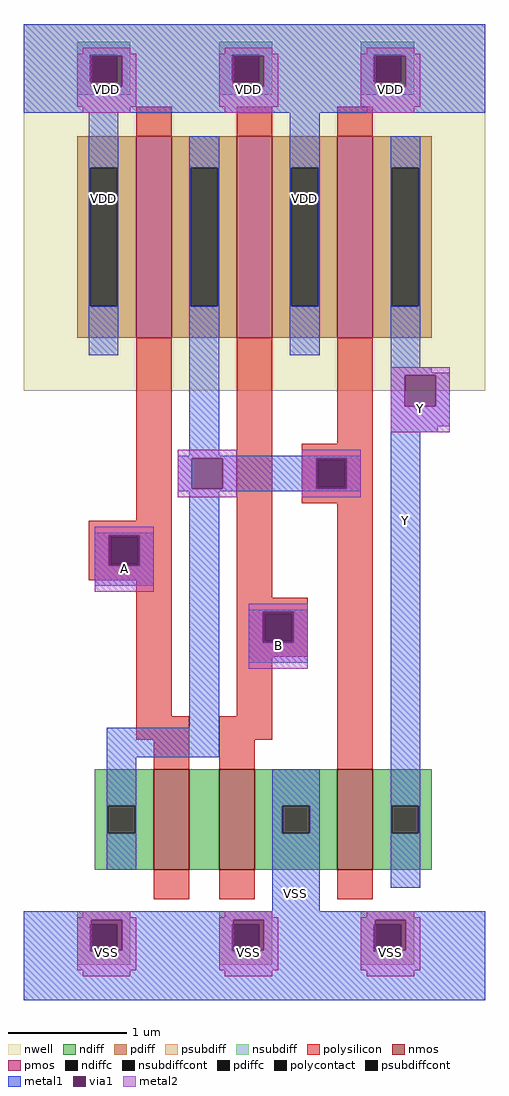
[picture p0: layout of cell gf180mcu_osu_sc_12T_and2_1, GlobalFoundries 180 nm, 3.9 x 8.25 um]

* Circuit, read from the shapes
.subckt gf180mcu_osu_sc_12T_and2_1 A B Y VDD VSS
XM1 n1 A n2 VSS nfet_03v3 w=0.85u l=0.3u
XM2 VSS B n1 VSS nfet_03v3 w=0.85u l=0.3u
XM3 Y n2 VSS VSS nfet_03v3 w=0.85u l=0.3u
XM4 n2 A VDD VDD pfet_03v3 w=1.7u l=0.3u
XM5 VDD B n2 VDD pfet_03v3 w=1.7u l=0.3u
XM6 Y n2 VDD VDD pfet_03v3 w=1.7u l=0.3u
.ends

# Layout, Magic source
magic
tech gf180mcuA
magscale 1 10
<< nwell >>
rect 0 1000 780 1620
<< nmos >>
rect 220 190 280 360
rect 330 190 390 360
rect 530 190 590 360
<< pmos >>
rect 190 1090 250 1430
rect 360 1090 420 1430
rect 530 1090 590 1430
<< ndiff >>
rect 120 298 220 360
rect 120 252 142 298
rect 188 252 220 298
rect 120 190 220 252
rect 280 190 330 360
rect 390 298 530 360
rect 390 252 437 298
rect 483 252 530 298
rect 390 190 530 252
rect 590 298 690 360
rect 590 252 622 298
rect 668 252 690 298
rect 590 190 690 252
<< pdiff >>
rect 90 1377 190 1430
rect 90 1143 112 1377
rect 158 1143 190 1377
rect 90 1090 190 1143
rect 250 1377 360 1430
rect 250 1143 282 1377
rect 328 1143 360 1377
rect 250 1090 360 1143
rect 420 1377 530 1430
rect 420 1143 452 1377
rect 498 1143 530 1377
rect 420 1090 530 1143
rect 590 1377 690 1430
rect 590 1143 622 1377
rect 668 1143 690 1377
rect 590 1090 690 1143
<< ndiffc >>
rect 142 252 188 298
rect 437 252 483 298
rect 622 252 668 298
<< pdiffc >>
rect 112 1143 158 1377
rect 282 1143 328 1377
rect 452 1143 498 1377
rect 622 1143 668 1377
<< psubdiff >>
rect 90 98 180 120
rect 90 52 112 98
rect 158 52 180 98
rect 90 30 180 52
rect 330 98 420 120
rect 330 52 352 98
rect 398 52 420 98
rect 330 30 420 52
rect 570 98 660 120
rect 570 52 592 98
rect 638 52 660 98
rect 570 30 660 52
<< nsubdiff >>
rect 90 1568 180 1590
rect 90 1522 112 1568
rect 158 1522 180 1568
rect 90 1500 180 1522
rect 330 1568 420 1590
rect 330 1522 352 1568
rect 398 1522 420 1568
rect 330 1500 420 1522
rect 570 1568 660 1590
rect 570 1522 592 1568
rect 638 1522 660 1568
rect 570 1500 660 1522
<< psubdiffcont >>
rect 112 52 158 98
rect 352 52 398 98
rect 592 52 638 98
<< nsubdiffcont >>
rect 112 1522 158 1568
rect 352 1522 398 1568
rect 592 1522 638 1568
<< polysilicon >>
rect 190 1430 250 1480
rect 360 1430 420 1480
rect 530 1430 590 1480
rect 190 780 250 1090
rect 110 753 250 780
rect 110 707 147 753
rect 193 707 250 753
rect 110 680 250 707
rect 190 450 250 680
rect 360 650 420 1090
rect 530 910 590 1090
rect 470 883 590 910
rect 470 837 497 883
rect 543 837 590 883
rect 470 810 590 837
rect 360 623 480 650
rect 360 577 407 623
rect 453 577 480 623
rect 360 550 480 577
rect 360 450 420 550
rect 190 410 280 450
rect 220 360 280 410
rect 330 410 420 450
rect 330 360 390 410
rect 530 360 590 810
rect 220 140 280 190
rect 330 140 390 190
rect 530 140 590 190
<< polycontact >>
rect 147 707 193 753
rect 497 837 543 883
rect 407 577 453 623
<< metal1 >>
rect 0 1568 780 1620
rect 0 1522 112 1568
rect 158 1566 352 1568
rect 398 1566 592 1568
rect 638 1566 780 1568
rect 166 1522 352 1566
rect 406 1522 592 1566
rect 0 1514 114 1522
rect 166 1514 354 1522
rect 406 1514 594 1522
rect 646 1514 780 1566
rect 0 1470 780 1514
rect 110 1377 160 1470
rect 110 1143 112 1377
rect 158 1143 160 1377
rect 110 1060 160 1143
rect 280 1377 330 1430
rect 280 1143 282 1377
rect 328 1143 330 1377
rect 280 890 330 1143
rect 450 1377 500 1470
rect 450 1143 452 1377
rect 498 1143 500 1377
rect 450 1060 500 1143
rect 620 1377 670 1430
rect 620 1143 622 1377
rect 668 1143 670 1377
rect 620 1040 670 1143
rect 620 1030 690 1040
rect 620 1026 720 1030
rect 620 974 644 1026
rect 696 974 720 1026
rect 620 940 720 974
rect 620 930 700 940
rect 260 886 570 890
rect 260 834 284 886
rect 336 834 494 886
rect 546 834 570 886
rect 260 830 570 834
rect 120 756 220 760
rect 120 704 144 756
rect 196 704 220 756
rect 120 670 220 704
rect 280 430 330 830
rect 380 626 480 630
rect 380 574 404 626
rect 456 574 480 626
rect 380 540 480 574
rect 140 380 330 430
rect 140 298 190 380
rect 140 252 142 298
rect 188 252 190 298
rect 140 190 190 252
rect 420 298 500 360
rect 420 252 437 298
rect 483 252 500 298
rect 420 120 500 252
rect 620 298 670 930
rect 620 252 622 298
rect 668 252 670 298
rect 620 160 670 252
rect 0 106 780 120
rect 0 98 114 106
rect 166 98 354 106
rect 406 98 594 106
rect 0 52 112 98
rect 166 54 352 98
rect 406 54 592 98
rect 646 54 780 106
rect 158 52 352 54
rect 398 52 592 54
rect 638 52 780 54
rect 0 -30 780 52
<< via1 >>
rect 114 1522 158 1566
rect 158 1522 166 1566
rect 354 1522 398 1566
rect 398 1522 406 1566
rect 594 1522 638 1566
rect 638 1522 646 1566
rect 114 1514 166 1522
rect 354 1514 406 1522
rect 594 1514 646 1522
rect 644 974 696 1026
rect 284 834 336 886
rect 494 883 546 886
rect 494 837 497 883
rect 497 837 543 883
rect 543 837 546 883
rect 494 834 546 837
rect 144 753 196 756
rect 144 707 147 753
rect 147 707 193 753
rect 193 707 196 753
rect 144 704 196 707
rect 404 623 456 626
rect 404 577 407 623
rect 407 577 453 623
rect 453 577 456 623
rect 404 574 456 577
rect 114 98 166 106
rect 354 98 406 106
rect 594 98 646 106
rect 114 54 158 98
rect 158 54 166 98
rect 354 54 398 98
rect 398 54 406 98
rect 594 54 638 98
rect 638 54 646 98
<< metal2 >>
rect 100 1570 180 1580
rect 340 1570 420 1580
rect 580 1570 660 1580
rect 90 1566 190 1570
rect 90 1514 114 1566
rect 166 1514 190 1566
rect 90 1480 190 1514
rect 330 1566 430 1570
rect 330 1514 354 1566
rect 406 1514 430 1566
rect 330 1480 430 1514
rect 570 1566 670 1570
rect 570 1514 594 1566
rect 646 1514 670 1566
rect 570 1480 670 1514
rect 100 1470 180 1480
rect 340 1470 420 1480
rect 580 1470 660 1480
rect 620 1026 720 1040
rect 620 974 644 1026
rect 696 974 720 1026
rect 620 930 720 974
rect 260 886 360 900
rect 260 834 284 886
rect 336 834 360 886
rect 260 820 360 834
rect 470 886 570 900
rect 470 834 494 886
rect 546 834 570 886
rect 470 820 570 834
rect 120 756 220 770
rect 120 704 144 756
rect 196 704 220 756
rect 120 660 220 704
rect 380 626 480 640
rect 380 574 404 626
rect 456 574 480 626
rect 380 530 480 574
rect 100 110 180 120
rect 340 110 420 120
rect 580 110 660 120
rect 90 106 190 110
rect 90 54 114 106
rect 166 54 190 106
rect 90 20 190 54
rect 330 106 430 110
rect 330 54 354 106
rect 406 54 430 106
rect 330 20 430 54
rect 570 106 670 110
rect 570 54 594 106
rect 646 54 670 106
rect 570 20 670 54
rect 100 10 180 20
rect 340 10 420 20
rect 580 10 660 20
<< labels >>
rlabel metal2 s 100 1470 180 1550 4 VDD
port 8 nsew power bidirectional abutment
rlabel metal2 s 100 10 180 90 4 VSS
port 9 nsew ground bidirectional
rlabel metal2 s 120 660 220 740 4 A
port 1 nsew signal input
rlabel metal2 s 380 530 480 610 4 B
port 2 nsew signal input
rlabel metal2 s 620 930 720 1010 4 Y
port 3 nsew signal output
rlabel metal1 s 120 670 220 730 1 A
port 1 nsew signal input
rlabel metal1 s 380 540 480 600 1 B
port 2 nsew signal input
rlabel metal2 s 90 1480 190 1540 1 VDD
port 8 nsew power bidirectional abutment
rlabel metal2 s 340 1470 420 1550 1 VDD
port 8 nsew power bidirectional abutment
rlabel metal2 s 330 1480 430 1540 1 VDD
port 8 nsew power bidirectional abutment
rlabel metal2 s 580 1470 660 1550 1 VDD
port 8 nsew power bidirectional abutment
rlabel metal2 s 570 1480 670 1540 1 VDD
port 8 nsew power bidirectional abutment
rlabel metal1 s 110 1060 160 1590 1 VDD
port 8 nsew power bidirectional abutment
rlabel metal1 s 450 1060 500 1590 1 VDD
port 8 nsew power bidirectional abutment
rlabel metal1 s 0 1470 780 1590 1 VDD
port 8 nsew power bidirectional abutment
rlabel metal2 s 90 20 190 80 1 VSS
port 9 nsew ground bidirectional
rlabel metal2 s 340 10 420 90 1 VSS
port 9 nsew ground bidirectional
rlabel metal2 s 330 20 430 80 1 VSS
port 9 nsew ground bidirectional
rlabel metal2 s 580 10 660 90 1 VSS
port 9 nsew ground bidirectional
rlabel metal2 s 570 20 670 80 1 VSS
port 9 nsew ground bidirectional
rlabel metal1 s 420 -30 500 330 1 VSS
port 9 nsew ground bidirectional
rlabel metal1 s 0 -30 780 90 1 VSS
port 9 nsew ground bidirectional
rlabel metal1 s 620 160 670 1400 1 Y
port 3 nsew signal output
rlabel metal1 s 620 930 690 1010 1 Y
port 3 nsew signal output
rlabel metal1 s 620 930 700 1000 1 Y
port 3 nsew signal output
rlabel metal1 s 620 940 720 1000 1 Y
port 3 nsew signal output
<< properties >>
string FIXED_BBOX 0 -30 780 1590
string GDS_END 47360
string GDS_FILE $PDKPATH/libs.ref/gf180mcu_osu_sc_12T/gds/gf180mcu_osu_sc_12T.gds
string GDS_START 39994
string LEFclass CORE
string LEFsite GF018hv5v_mcu_sc7
string LEFsymmetry X Y
<< end >>
